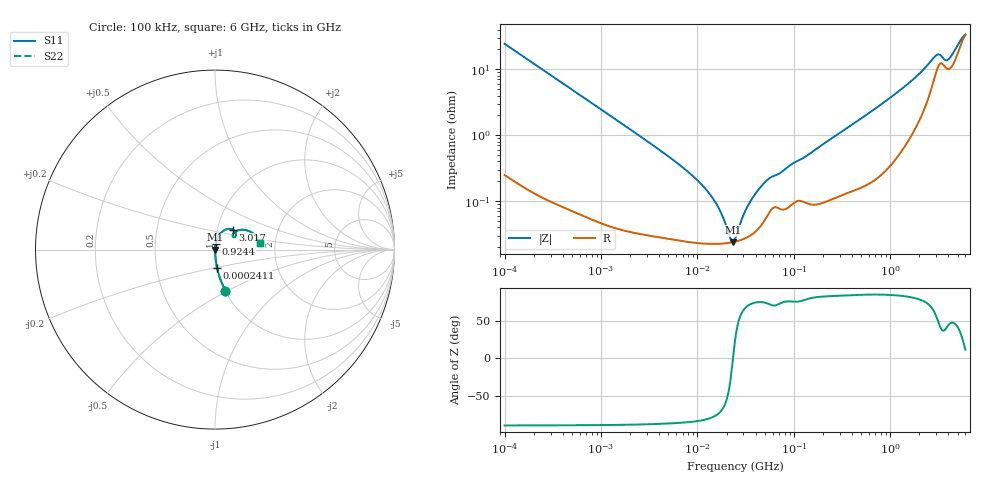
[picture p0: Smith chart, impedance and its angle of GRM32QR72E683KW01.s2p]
!Murata Part Number: GRM32QR72E683KW01
!These Parameters are Measured in Series Mode Connection
!Data Generated on Mar 30, 2021
!  o--ll--o
!Port1  Port2
!  o------o
!Operation Temp=25[degC], DC Bias Voltage=0[V]
!Freq. Start=100[kHz] Stop=6[GHz] 401[Steps]
# Hz S RI R 50
!Freq.(Hz) S11(Real) S11(Imag) S21(Real) S21(Imag) S12(Real) S12(Imag) S22(Real) S22(Imag)
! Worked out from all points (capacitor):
!   401 points, 100 kHz to 6 GHz, reference 50 ohm
!   read as one part in series: C = 65.4 nF near 105.7 kHz
!   lowest |Z| = 24 mohm at 23.18 MHz (marker M1)
!   series resonance near 23.33 MHz, so ESL is about 710 pH
!   S11 on the Smith chart (normalised r, x): 100 kHz: 1.00, -0.49; 241.1 kHz: 1.00, -0.20; 924.4 MHz: 1.01, +0.07; 3.017 GHz: 1.19, +0.27; 6 GHz: 1.66, +0.14
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100000  0.0579 -0.2284  0.9421 0.2284  0.9421 0.2284  0.0579 -0.2284
241130  0.0113 -0.1  0.9887 0.1  0.9887 0.1  0.0113 -0.1
631452  0.00212 -0.0388  0.9979 0.0388  0.9979 0.0388  0.00212 -0.0388
3987316  0.00032 -0.00606  0.9997 0.00606  0.9997 0.00606  0.00032 -0.00606
8151931  0.000247 -0.00271  0.9998 0.00271  0.9998 0.00271  0.000247 -0.00271
1.265862e7  0.000228 -0.00141  0.9998 0.00141  0.9998 0.00141  0.000228 -0.00141
1.666634e7  0.000227 -0.000745  0.9998 0.000745  0.9998 0.000745  0.000227 -0.000745
2.19429e7  0.000236 -0.000134  0.9998 0.000134  0.9998 0.000134  0.000236 -0.000134
2.318381e7  0.000239 -1.38e-05  0.9998 1.38e-05  0.9998 1.38e-05  0.000239 -1.38e-05
2.517799e7  0.000246 0.000167  0.9998 -0.000167  0.9998 -0.000167  0.000246 0.000167
2.889002e7  0.000262 0.000473  0.9997 -0.000473  0.9997 -0.000473  0.000262 0.000473
3.314933e7  0.000287 0.000792  0.9997 -0.000792  0.9997 -0.000792  0.000287 0.000792
4.739851e7  0.000464 0.00172  0.9995 -0.00172  0.9995 -0.00172  0.000464 0.00172
5.590324e7  0.000689 0.00213  0.9993 -0.00213  0.9993 -0.00213  0.000689 0.00213
1.546735e8  0.000917 0.00549  0.9991 -0.00549  0.9991 -0.00549  0.000917 0.00549
9.244119e8  0.00418 0.0338  0.9958 -0.0338  0.9958 -0.0338  0.00418 0.0338
9.76689e8  0.0046 0.0358  0.9954 -0.0358  0.9954 -0.0358  0.0046 0.0358
2.10973e9  0.0271 0.0863  0.9729 -0.0863  0.9729 -0.0863  0.0271 0.0863
3.016594e9  0.0998 0.1107  0.9002 -0.1107  0.9002 -0.1107  0.0998 0.1107
3.971646e9  0.0985 0.0797  0.9015 -0.0797  0.9015 -0.0797  0.0985 0.0797
4.949184e9  0.1577 0.1107  0.8423 -0.1107  0.8423 -0.1107  0.1577 0.1107
6e9  0.2499 0.0381  0.7501 -0.0381  0.7501 -0.0381  0.2499 0.0381
